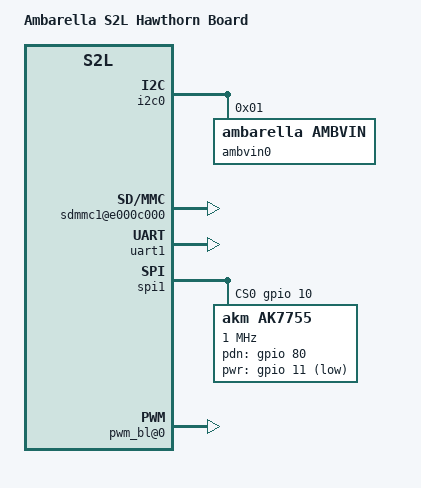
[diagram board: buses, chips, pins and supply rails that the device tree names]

/*
 * Copyright (C) 2013 Ambarella,Inc. - http://www.ambarella.com/
 * Author: Cao Rongrong <rrcao@ambarella.com>
 *
 * This program is free software; you can redistribute it and/or modify
 * it under the terms of the GNU General Public License version 2 as
 * published by the Free Software Foundation.
 */
/dts-v1/;

/include/ "ambarella-s2l.dtsi"

/ {
	model = "Ambarella S2L Hawthorn Board";
	compatible = "ambarella,hawthorn", "ambarella,s2l";

	chosen {
		bootargs = "console=ttyS0 ubi.mtd=lnx root=ubi0:rootfs rw rootfstype=ubifs init=/linuxrc no_console_suspend";
                ambarella,gpio-notify-mcu = <20>;
	};

	apb@e8000000 {
		i2c0: i2c@e8003000 {
			status = "ok";

			ambvin0@01 {
				compatible = "ambarella,ambvin";
				reg = <0x01>;	/* fake address, will be overwritten in runtime */
			};
		};
		
		ir@e8006000 {
			compatible = "ambarella,ir";
			status = "disabled";
		};
	};

	ahb@e0000000 {
		sdmmc0@e0002000 {
		pinctrl-0 = <&sdmmc0_pins_4bit>;
			slot@0 {
				no-1-8-v;
				max-frequency = <24000000>;
				amb,fixed-wp = <0>;
			};
		};

		sdmmc1@e000c000 {
			status = "ok";
			slot@0 {
				no-1-8-v;
				keep-power-in-suspend;
				max-frequency = <50000000>;
				bus-width = <4>;
			};
		};

		uart1: uart@e0032000 {
			compatible = "ambarella,uart";
			reg = <0xe0032000 0x1000>;
			interrupts = <25 0x4>;
			pinctrl-names = "default";
			/*pinctrl-0 = <&uart1_pins_b &uart1_flow_pins_c>;*/
			pinctrl-0 = <&uart1_pins_d>;
			status = "ok";
			amb,msr-used;
			amb,txdma-used;
			/* amb,tx-fifo-fix; */
			/* need to select pinctrl setup in board dts */
		};

		mac0: ethernet@e000e000 {
			compatible = "ambarella,eth";
			status = "disabled";
		};

		spi0: spi@e0020000 {
			status = "disabled";
		};


		spi1: spi@e0021000 {
			cs-gpios = <&gpio 10 0>;
			status = "ok";

			ak7755:codec@0 {
				compatible = "akm,ak7755";
				reg = <0>;
				spi-max-frequency = <1000000>;
				spi-cpha;
				spi-cpol;
				ak7755,pdn-gpio = <&gpio 80 0>;
				ak7755,pwr-gpio = <&gpio 11 0x1>;
				/*ak7755,avdd-gpio = <12>;*/
				/*ak7755,dvdd-gpio = <11>;*/
				/*ak7755,pa_l1-gpio = <49>;*/
				/*ak7755,pa_l2-gpio = <51>;*/
				/*ak7755,pa_r1-gpio = <50>;*/
				/*ak7755,pa_r2-gpio = <53>;*/
			};
		};
	};

	rct@ec170000 {
		usbphy: usbphy@ec170050 {
			/* high will trigger the ocp interrupt */
			amb,ocp-polarity = <0>;
			pinctrl-names = "default";
			/* pinctrl-0 = <&usb_host0_pins>; */
			/* id-gpios = <&gpio 3 0x0>; */
		};
	};

	sound {
		compatible = "ambarella,audio-board";
		amb,model = "Ambarella @ Audio";
		amb,i2s-controllers = <&i2s0>;
		amb,audio-codec = <&ak7755>;
		amb,dummy-codec = <&dummycodec>;
		amb,dai_fmt = <0>;
		amb,dummy_dai_fmt = <4>;
		amb,clk_fmt = <0>;
		amb,codec-name = "ak7755";
		amb,stream-name = "ak7755 PCM";
		amb,codec-dai-name = "ak7755-AIF1";
		amb,audio-routing = "IN1",     "Mic internal",
												"IN2",     "Mic internal",
												"IN3",     "Mic internal",
												"IN4",     "Mic internal",
												"Speaker",  "Line Out1",
												"Speaker",  "Line Out2";
	};

    bogus_bus {
		pwm_bl@0 {
    	status = "ok";
			compatible = "pwm-backlight";
			reg = <0>;
			pwms = <&pwm 0 200000 0>;
			pinctrl-names = "default";
			pinctrl-0 = <&pwm0_pins_c>;
			brightness-levels =
				<0 1 2 3 4 5 6 7 8 9 10 11 12 13 14 15
				16 17 18 19 20 21 22 23 24 25 26 27 28 29 30 31
				32 33 34 35 36 37 38 39 40 41 42 43 44 45 46 47
				48 49 50 51 52 53 54 55 56 57 58 59 60 61 62 63
				64 65 66 67 68 69 70 71 72 73 74 75 76 77 78 79
				80 81 82 83 84 85 86 87 88 89 90 91 92 93 94 95
				96 97 98 99 100 101 102 103 104 105 106 107 108 109 110 111
				112 113 114 115 116 117 118 119 120 121 122 123 124 125 126 127
				128 129 130 131 132 133 134 135 136 137 138 139 140 141 142 143
				144 145 146 147 148 149 150 151 152 153 154 155 156 157 158 159
				160 161 162 163 164 165 166 167 168 169 170 171 172 173 174 175
				176 177 178 179 180 181 182 183 184 185 186 187 188 189 190 191
				192 193 194 195 196 197 198 199 200 201 202 203 204 205 206 207
				208 209 210 211 212 213 214 215 216 217 218 219 220 221 222 223
				224 225 226 227 228 229 230 231 232 233 234 235 236 237 238 239
				240 241 242 243 244 245 246 247 248 249 250 251 252 253 254 255>;
			default-brightness-level = <0>;
		};
	};

	iav {
		compatible = "ambarella,iav";

		/* node for vin controller */
		vinc0 {
      /*vinpwr-gpios = <&gpio 91 1>;*/
      /*vinrst-gpios = <&gpio 92 0>;*/
			/* vinpwr-gpios = <>; */
		};
	};
};

